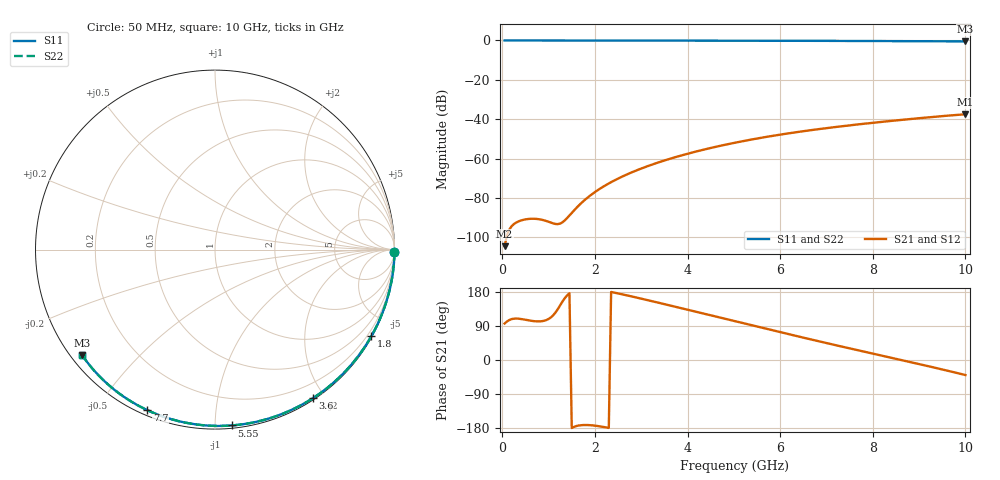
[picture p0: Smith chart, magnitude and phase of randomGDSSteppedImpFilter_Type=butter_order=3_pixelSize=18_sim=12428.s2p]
! freq	dB(S11)	phase(S11)	dB(S12)	phase(S12)
!  dB(S21)	phase(S21)	dB(S22)	phase(S22)
!S-par simulation data
#  GHz  S  DB  R 50
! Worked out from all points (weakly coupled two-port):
!   200 points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, 50 MHz to 10 GHz, reference 50 ohm
!   highest |S21| = -37.48 dB at 10 GHz (marker M1); lowest = -104.5 dB at 50 MHz (marker M2)
!   lowest |S11| = -0.5 dB at 10 GHz (marker M3), VSWR 35.54, Z = 1.58 - j17.5 ohm
!   |S11| at or under -10 dB: nowhere
!   |S22| runs from -0.5 to 0.0 dB; largest |S21 - S12| = 0
!   S11 on the Smith chart (normalised r, x): 50 MHz: open; 1.8 GHz: 0.03, -3.86; 3.6 GHz: 0.02, -1.85; 5.55 GHz: 0.02, -1.10; 7.7 GHz: 0.02, -0.66; 10 GHz: 0.03, -0.35
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0.05  -0.00 -0.8  -104.48 96.2  -104.48 96.2  -0.00 -0.8
0.45  -0.00 -7.4  -91.12 107.3  -91.12 107.3  -0.01 -7.3
0.85  -0.01 -13.9  -91.04 102.4  -91.04 102.4  -0.02 -13.8
1.3  -0.02 -21.1  -92.35 154.4  -92.35 154.4  -0.03 -21.0
1.75  -0.04 -28.2  -81.64 -171.6  -81.64 -171.6  -0.04 -28.1
1.8  -0.04 -29.0  -80.62 -171.5  -80.62 -171.5  -0.04 -28.9
1.85  -0.04 -29.8  -79.65 -171.6  -79.65 -171.6  -0.04 -29.7
2.05  -0.04 -33.0  -76.20 -174.1  -76.20 -174.1  -0.04 -32.9
2.25  -0.05 -36.1  -73.27 -178.1  -73.27 -178.1  -0.05 -36.0
2.55  -0.05 -40.8  -69.57 174.4  -69.57 174.4  -0.05 -40.6
2.95  -0.06 -46.9  -65.50 163.3  -65.50 163.3  -0.06 -46.7
3.4  -0.07 -53.7  -61.72 150.4  -61.72 150.4  -0.07 -53.5
3.6  -0.08 -56.7  -60.23 144.5  -60.23 144.5  -0.08 -56.5
4.3  -0.09 -66.9  -55.73 123.9  -55.73 123.9  -0.09 -66.7
5.05  -0.12 -77.6  -51.81 101.6  -51.81 101.6  -0.12 -77.3
5.55  -0.14 -84.5  -49.60 86.8  -49.60 86.8  -0.14 -84.3
6.1  -0.16 -91.9  -47.47 70.6  -47.47 70.6  -0.16 -91.7
6.7  -0.19 -99.9  -45.44 53.2  -45.44 53.2  -0.19 -99.6
7.7  -0.26 -112.8  -42.59 25.1  -42.59 25.1  -0.26 -112.5
8.35  -0.31 -121.0  -40.97 7.3  -40.97 7.3  -0.31 -120.7
9.2  -0.39 -131.6  -39.05 -16.3  -39.05 -16.3  -0.39 -131.4
10  -0.49 -141.4  -37.48 -39.7  -37.48 -39.7  -0.48 -141.5
